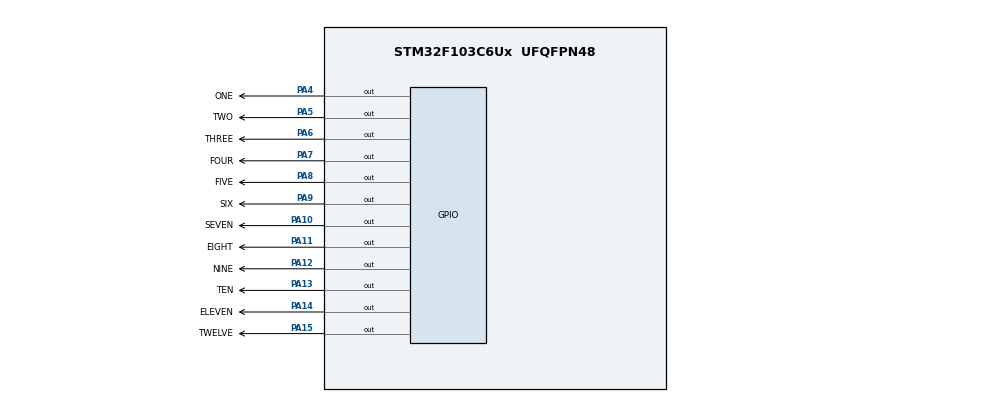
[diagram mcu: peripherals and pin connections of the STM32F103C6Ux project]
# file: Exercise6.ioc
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Mcu.Family=STM32F1
Mcu.Name=STM32F103C6Ux
Mcu.Package=UFQFPN48
NVIC.PriorityGroup=NVIC_PRIORITYGROUP_4
PA10.GPIO_Label=SEVEN
PA10.Signal=GPIO_Output
PA11.GPIO_Label=EIGHT
PA11.Signal=GPIO_Output
PA12.GPIO_Label=NINE
PA12.Signal=GPIO_Output
PA13.GPIO_Label=TEN
PA13.Signal=GPIO_Output
PA14.GPIO_Label=ELEVEN
PA14.Signal=GPIO_Output
PA15.GPIO_Label=TWELVE
PA15.Signal=GPIO_Output
PA4.GPIO_Label=ONE
PA4.Signal=GPIO_Output
PA5.GPIO_Label=TWO
PA5.Signal=GPIO_Output
PA6.GPIO_Label=THREE
PA6.Signal=GPIO_Output
PA7.GPIO_Label=FOUR
PA7.Signal=GPIO_Output
PA8.GPIO_Label=FIVE
PA8.Signal=GPIO_Output
PA9.GPIO_Label=SIX
PA9.Signal=GPIO_Output
ProjectManager.HeapSize=0x200
ProjectManager.StackSize=0x400
ProjectManager.TargetToolchain=STM32CubeIDE
RCC.APB1Freq_Value=8000000
RCC.APB2Freq_Value=8000000
VP_SYS_VS_ND.Mode=No_Debug
board=custom

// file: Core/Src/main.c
/* USER CODE BEGIN Header */
/**
  ******************************************************************************
  * @file           : main.c
  * @brief          : Main program body
  ******************************************************************************
  * @attention
  *
  * <h2><center>&copy; Copyright (c) 2023 STMicroelectronics.
  * All rights reserved.</center></h2>
  *
  * This software component is licensed by ST under BSD 3-Clause license,
  * the "License"; You may not use this file except in compliance with the
  * License. You may obtain a copy of the License at:
  *                        opensource.org/licenses/BSD-3-Clause
  *
  ******************************************************************************
  */
/* USER CODE END Header */
#include "main.h"

void SystemClock_Config(void);
static void MX_GPIO_Init(void);

/* USER CODE BEGIN 0 */
void clearAllClock() {
	HAL_GPIO_WritePin(ONE_GPIO_Port, ONE_Pin, SET);
	HAL_GPIO_WritePin(TWO_GPIO_Port, TWO_Pin, SET);
	HAL_GPIO_WritePin(THREE_GPIO_Port, THREE_Pin, SET);
	HAL_GPIO_WritePin(FOUR_GPIO_Port, FOUR_Pin, SET);
	HAL_GPIO_WritePin(FIVE_GPIO_Port, FIVE_Pin, SET);
	HAL_GPIO_WritePin(SIX_GPIO_Port, SIX_Pin, SET);
	HAL_GPIO_WritePin(SEVEN_GPIO_Port, SEVEN_Pin, SET);
	HAL_GPIO_WritePin(EIGHT_GPIO_Port, EIGHT_Pin, SET);
	HAL_GPIO_WritePin(NINE_GPIO_Port, NINE_Pin, SET);
	HAL_GPIO_WritePin(TEN_GPIO_Port, TEN_Pin, SET);
	HAL_GPIO_WritePin(ELEVEN_GPIO_Port, ELEVEN_Pin, SET);
	HAL_GPIO_WritePin(TWELVE_GPIO_Port, TWELVE_Pin, SET);
	return;
}

void setNumberOnClock(int num){
	switch (num)
	{
	case 0:
	  HAL_GPIO_WritePin(TWELVE_GPIO_Port, TWELVE_Pin, RESET);
	  break;
	case 1:
	  HAL_GPIO_WritePin(ONE_GPIO_Port, ONE_Pin, RESET);
	  break;
	case 2:
	  HAL_GPIO_WritePin(TWO_GPIO_Port, TWO_Pin, RESET);
	  break;
	case 3:
	  HAL_GPIO_WritePin(THREE_GPIO_Port, THREE_Pin, RESET);
	  break;
	case 4:
	  HAL_GPIO_WritePin(FOUR_GPIO_Port, FOUR_Pin, RESET);
	  break;
	case 5:
	  HAL_GPIO_WritePin(FIVE_GPIO_Port, FIVE_Pin, RESET);
	  break;
	case 6:
	  HAL_GPIO_WritePin(SIX_GPIO_Port, SIX_Pin, RESET);
	  break;
	case 7:
	  HAL_GPIO_WritePin(SEVEN_GPIO_Port, SEVEN_Pin, RESET);
	  break;
	case 8:
	  HAL_GPIO_WritePin(EIGHT_GPIO_Port, EIGHT_Pin, RESET);
	  break;
	case 9:
	  HAL_GPIO_WritePin(NINE_GPIO_Port, NINE_Pin, RESET);
	  break;
	case 10:
	  HAL_GPIO_WritePin(TEN_GPIO_Port, TEN_Pin, RESET);
	  break;
	case 11:
	  HAL_GPIO_WritePin(ELEVEN_GPIO_Port, ELEVEN_Pin, RESET);
	  break;
	default:
	  HAL_GPIO_WritePin(TWELVE_GPIO_Port, TWELVE_Pin, RESET);
	  break;
	}
}

void clearNumberOnClock(int num){
	switch (num)
	{
	case 0:
	  HAL_GPIO_WritePin(TWELVE_GPIO_Port, TWELVE_Pin, RESET);
	  break;
	case 1:
	  HAL_GPIO_WritePin(ONE_GPIO_Port, ONE_Pin, SET);
	  break;
	case 2:
	  HAL_GPIO_WritePin(TWO_GPIO_Port, TWO_Pin, SET);
	  break;
	case 3:
	  HAL_GPIO_WritePin(THREE_GPIO_Port, THREE_Pin, SET);
	  break;
	case 4:
	  HAL_GPIO_WritePin(FOUR_GPIO_Port, FOUR_Pin, SET);
	  break;
	case 5:
	  HAL_GPIO_WritePin(FIVE_GPIO_Port, FIVE_Pin, SET);
	  break;
	case 6:
	  HAL_GPIO_WritePin(SIX_GPIO_Port, SIX_Pin, SET);
	  break;
	case 7:
	  HAL_GPIO_WritePin(SEVEN_GPIO_Port, SEVEN_Pin, SET);
	  break;
	case 8:
	  HAL_GPIO_WritePin(EIGHT_GPIO_Port, EIGHT_Pin, SET);
	  break;
	case 9:
	  HAL_GPIO_WritePin(NINE_GPIO_Port, NINE_Pin, SET);
	  break;
	case 10:
	  HAL_GPIO_WritePin(TEN_GPIO_Port, TEN_Pin, SET);
	  break;
	case 11:
	  HAL_GPIO_WritePin(ELEVEN_GPIO_Port, ELEVEN_Pin, SET);
	  break;
	default:
	  HAL_GPIO_WritePin(TWELVE_GPIO_Port, TWELVE_Pin, SET);
	  break;
	}
}

/* USER CODE END 0 */

int main(void)
{

  /* MCU Configuration--------------------------------------------------------*/

  /* Reset of all peripherals, Initializes the Flash interface and the Systick. */
  HAL_Init();

  /* Configure the system clock */
  SystemClock_Config();

  /* Initialize all configured peripherals */
  MX_GPIO_Init();

  /* Infinite loop */
  /* USER CODE BEGIN WHILE */
  int hour = 0;
  int minute = 0;
  int second = 0;
  while (1)
  {
	if (second >= 60) {
	second = 0;
	minute++;
	}
	if (minute >= 60) {
	minute = 0;
	hour++;
	}
	if (hour >= 12) {
	hour = 0;
	}
	clearAllClock();
	setNumberOnClock(second/5);
	setNumberOnClock(minute/5);
	setNumberOnClock(hour);
	HAL_Delay(1000);
	second++;
	/* USER CODE END WHILE */

  }
}

void SystemClock_Config(void)
{
  RCC_OscInitTypeDef RCC_OscInitStruct = {0};
  RCC_ClkInitTypeDef RCC_ClkInitStruct = {0};

  /** Initializes the RCC Oscillators according to the specified parameters
  * in the RCC_OscInitTypeDef structure.
  */
  RCC_OscInitStruct.OscillatorType = RCC_OSCILLATORTYPE_HSI;
  RCC_OscInitStruct.HSIState = RCC_HSI_ON;
  RCC_OscInitStruct.HSICalibrationValue = RCC_HSICALIBRATION_DEFAULT;
  RCC_OscInitStruct.PLL.PLLState = RCC_PLL_NONE;
  if (HAL_RCC_OscConfig(&RCC_OscInitStruct) != HAL_OK)
  {
    Error_Handler();
  }
  /** Initializes the CPU, AHB and APB buses clocks
  */
  RCC_ClkInitStruct.ClockType = RCC_CLOCKTYPE_HCLK|RCC_CLOCKTYPE_SYSCLK
                              |RCC_CLOCKTYPE_PCLK1|RCC_CLOCKTYPE_PCLK2;
  RCC_ClkInitStruct.SYSCLKSource = RCC_SYSCLKSOURCE_HSI;
  RCC_ClkInitStruct.AHBCLKDivider = RCC_SYSCLK_DIV1;
  RCC_ClkInitStruct.APB1CLKDivider = RCC_HCLK_DIV1;
  RCC_ClkInitStruct.APB2CLKDivider = RCC_HCLK_DIV1;

  if (HAL_RCC_ClockConfig(&RCC_ClkInitStruct, FLASH_LATENCY_0) != HAL_OK)
  {
    Error_Handler();
  }
}

static void MX_GPIO_Init(void)
{
  GPIO_InitTypeDef GPIO_InitStruct = {0};

  /* GPIO Ports Clock Enable */
  __HAL_RCC_GPIOA_CLK_ENABLE();

  /*Configure GPIO pin Output Level */
  HAL_GPIO_WritePin(GPIOA, ONE_Pin|TWO_Pin|THREE_Pin|FOUR_Pin
                          |FIVE_Pin|SIX_Pin|SEVEN_Pin|EIGHT_Pin
                          |NINE_Pin|TEN_Pin|ELEVEN_Pin|TWELVE_Pin, GPIO_PIN_RESET);

  /*Configure GPIO pins : ONE_Pin TWO_Pin THREE_Pin FOUR_Pin
                           FIVE_Pin SIX_Pin SEVEN_Pin EIGHT_Pin
                           NINE_Pin TEN_Pin ELEVEN_Pin TWELVE_Pin */
  GPIO_InitStruct.Pin = ONE_Pin|TWO_Pin|THREE_Pin|FOUR_Pin
                          |FIVE_Pin|SIX_Pin|SEVEN_Pin|EIGHT_Pin
                          |NINE_Pin|TEN_Pin|ELEVEN_Pin|TWELVE_Pin;
  GPIO_InitStruct.Mode = GPIO_MODE_OUTPUT_PP;
  GPIO_InitStruct.Pull = GPIO_NOPULL;
  GPIO_InitStruct.Speed = GPIO_SPEED_FREQ_LOW;
  HAL_GPIO_Init(GPIOA, &GPIO_InitStruct);

}

void Error_Handler(void)
{
  __disable_irq();
  while (1)
  {
  }
}

/************************ (C) COPYRIGHT STMicroelectronics *****END OF FILE****/
